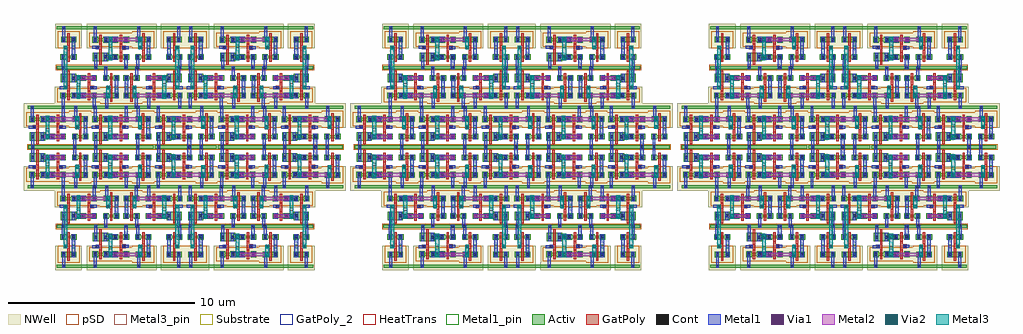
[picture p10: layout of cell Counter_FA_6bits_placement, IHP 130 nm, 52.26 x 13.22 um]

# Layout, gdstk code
from math import pi, radians
import gdstk
lib = gdstk.Library(unit=1e-6, precision=5e-09)
def R(c, l, rs):  # rectangles x0, y0, x1, y1
    for r in rs: c.add(gdstk.rectangle(r[:2], r[2:], *l))
Activ = (1, 0)
GatPoly = (5, 0)
GatPoly_2 = (5, 2)
Cont = (6, 0)
Metal1 = (8, 0)
Metal1_pin = (8, 2)
Metal2 = (10, 0)
pSD = (14, 0)
Via1 = (19, 0)
Via2 = (29, 0)
Metal3 = (30, 0)
Metal3_pin = (30, 2)
NWell = (31, 0)
Substrate = (40, 0)
HeatTrans = (51, 0)

pmos_9 = lib.new_cell('pmos$9')
R(pmos_9, Activ, [(0,0,0.3,0.3), (0.57,0,0.87,0.3), (0,0.075,0.87,0.225)])
R(pmos_9, GatPoly, [(0.37,-0.105,0.5,0.405), (0.37,-0.105,0.5,0.405)])
R(pmos_9, Cont, [(0.07,0.07,0.23,0.23), (0.64,0.07,0.8,0.23)])
R(pmos_9, Metal1, [(0.07,0.02,0.23,0.28), (0.07,0.02,0.23,0.28), (0.64,0.02,0.8,0.28), (0.64,0.02,0.8,0.28)])
R(pmos_9, pSD, [(-0.18,-0.225,1.05,0.525)])
R(pmos_9, NWell, [(-0.31,-0.31,1.18,0.61)])
R(pmos_9, Substrate, [(0.57,0,0.87,0.3)])
R(pmos_9, HeatTrans, [(0.37,-0.105,0.5,0.405)])
pmos_9.add(gdstk.Label('pmos', (0.435,0.15), layer=63, texttype=0))
pmos_9.add(gdstk.Label('pmos', (0.435,0.15), layer=51, texttype=0))

nmos_10 = lib.new_cell('nmos$10')
R(nmos_10, Activ, [(0,0,0.3,0.3), (0,0,0.81,0.45), (0.51,0,0.81,0.3)])
R(nmos_10, GatPoly, [(0.34,-0.18,0.47,0.63)])
R(nmos_10, GatPoly_2, [(0.34,-0.18,0.47,0.63)])
R(nmos_10, Cont, [(0.07,0.145,0.23,0.305), (0.58,0.145,0.74,0.305)])
R(nmos_10, Metal1, [(0.07,0,0.23,0.45), (0.58,0,0.74,0.45)])
R(nmos_10, Metal1_pin, [(0.07,0,0.23,0.45), (0.58,0,0.74,0.45)])
R(nmos_10, HeatTrans, [(0.34,-0.18,0.47,0.63)])
nmos_10.add(gdstk.Label('nmos', (0.405,0.225), layer=63, texttype=0))
nmos_10.add(gdstk.Label('nmos', (0.405,0.225), layer=51, texttype=0))

nmos_3_4 = lib.new_cell('nmos$3$4')
R(nmos_3_4, Activ, [(0,0,0.3,0.3), (0.57,0,0.87,0.3), (0,0.075,0.87,0.225)])
R(nmos_3_4, GatPoly, [(0.37,-0.105,0.5,0.405)])
R(nmos_3_4, GatPoly_2, [(0.37,-0.105,0.5,0.405)])
R(nmos_3_4, Cont, [(0.07,0.07,0.23,0.23), (0.64,0.07,0.8,0.23)])
R(nmos_3_4, Metal1, [(0.07,0.02,0.23,0.28), (0.64,0.02,0.8,0.28)])
R(nmos_3_4, Metal1_pin, [(0.07,0.02,0.23,0.28), (0.64,0.02,0.8,0.28)])
R(nmos_3_4, HeatTrans, [(0.37,-0.105,0.5,0.405)])
nmos_3_4.add(gdstk.Label('nmos', (0.435,0.15), layer=63, texttype=0))
nmos_3_4.add(gdstk.Label('nmos', (0.435,0.15), layer=51, texttype=0))

via1_constraint_2 = lib.new_cell('Via1_constraint$2')
R(via1_constraint_2, Metal1, [(0,0,0.2,0.2)])
R(via1_constraint_2, Metal2, [(0,0,0.2,0.2)])
R(via1_constraint_2, Via1, [(0.005,0.005,0.195,0.195)])

via2_constraint_2 = lib.new_cell('Via2_constraint$2')
R(via2_constraint_2, Metal2, [(-0.005,-0.005,0.195,0.195)])
R(via2_constraint_2, Via2, [(0,0,0.19,0.19)])
R(via2_constraint_2, Metal3, [(-0.005,-0.005,0.195,0.195)])

nand_1 = lib.new_cell('NAND$1')
R(nand_1, Activ, [(-0.075,-0.175,2.075,-0.015), (-0.085,1.955,2.095,2.115)])
R(nand_1, GatPoly, [(1.45,0.615,1.58,1.16), (0.16,0.875,0.36,1.075), (0.36,0.875,0.49,1.145), (1.58,0.875,1.78,1.075)])
R(nand_1, Cont, [(0.09,-0.175,0.25,-0.015), (0.18,0.895,0.34,1.055), (1.595,0.895,1.755,1.055), (0.06,1.955,0.22,2.115), (1.72,1.955,1.88,2.115)])
R(nand_1, Metal1, [(0.09,-0.175,0.25,0.245), (1.69,0.315,1.89,0.615), (0.76,0.335,1.31,0.595), (0.18,0.895,0.34,1.055), (1.595,0.895,1.755,1.055), (0.625,1.25,1.325,1.55), (0.06,1.525,0.22,2.115), (1.72,1.525,1.88,2.115)])
R(nand_1, Metal1_pin, [(0.09,-0.175,0.25,-0.015), (0.18,0.895,0.34,1.055), (1.595,0.895,1.755,1.055), (0.06,1.955,0.22,2.115), (1.72,1.955,1.88,2.115)])
R(nand_1, Metal2, [(0.825,0.36,1.89,0.56)])
R(nand_1, pSD, [(-0.13,-0.24,2.115,0.06)])
R(nand_1, Metal3, [(0.855,0.325,1.055,1.57)])
R(nand_1, Metal3_pin, [(0.855,0.74,1.055,0.905)])
R(nand_1, NWell, [(-0.325,1.855,2.26,2.26)])
nand_1.add(gdstk.Reference(pmos_9, (1.95,1.245), rotation=pi, x_reflection=True))
nand_1.add(gdstk.Reference(nmos_10, (0.83,0.245), rotation=pi, x_reflection=True))
nand_1.add(gdstk.Reference(nmos_3_4, (1.95,0.315), rotation=pi, x_reflection=True))
nand_1.add(gdstk.Reference(pmos_9, (0.86,1.245), rotation=pi, x_reflection=True))
nand_1.add(gdstk.Reference(via1_constraint_2, (1.69,0.36)))
nand_1.add(gdstk.Reference(via2_constraint_2, (0.86,0.365)))
nand_1.add(gdstk.Reference(via2_constraint_2, (0.86,1.305)))
nand_1.add(gdstk.Reference(via1_constraint_2, (0.855,1.3)))
nand_1.add(gdstk.Label('VA', (1.63,1.035), layer=8, texttype=2))
nand_1.add(gdstk.Label('VSS', (0.16,-0.05), layer=8, texttype=2))
nand_1.add(gdstk.Label('VDD', (0.085,2.075), layer=8, texttype=2))
nand_1.add(gdstk.Label('VDD', (1.745,2.075), layer=8, texttype=2))
nand_1.add(gdstk.Label('VB', (0.215,1.025), layer=8, texttype=2))
nand_1.add(gdstk.Label('VB', (0.295,1.015), layer=8, texttype=25))
nand_1.add(gdstk.Label('VOUT', (0.97,0.84), layer=30, texttype=2))

nmos_1_5 = lib.new_cell('nmos$1$5')
R(nmos_1_5, Activ, [(0,-0.145,0.3,0.155), (0.57,-0.145,0.87,0.155), (0,-0.07,0.87,0.08)])
R(nmos_1_5, GatPoly, [(0.37,-0.25,0.5,0.405)])
R(nmos_1_5, Cont, [(0.07,-0.075,0.23,0.085), (0.64,-0.075,0.8,0.085)])
R(nmos_1_5, Metal1, [(0.07,-0.125,0.23,0.135), (0.64,-0.125,0.8,0.135)])
R(nmos_1_5, Metal1_pin, [(0.07,-0.125,0.23,0.135), (0.64,-0.125,0.8,0.135)])
R(nmos_1_5, HeatTrans, [(0.37,-0.25,0.5,0.405)])
nmos_1_5.add(gdstk.Label('nmos', (0.435,0.005), layer=63, texttype=0))
nmos_1_5.add(gdstk.Label('nmos', (0.435,0.005), layer=51, texttype=0))

pmos_1_5 = lib.new_cell('pmos$1$5')
R(pmos_1_5, Activ, [(0,0,0.3,0.3), (0,0,0.81,0.3), (0.51,0,0.81,0.3)])
R(pmos_1_5, GatPoly, [(0.34,-0.18,0.47,0.48), (0.34,-0.18,0.47,0.48)])
R(pmos_1_5, Cont, [(0.07,0.07,0.23,0.23), (0.58,0.07,0.74,0.23)])
R(pmos_1_5, Metal1, [(0.07,0,0.23,0.3), (0.07,0,0.23,0.3), (0.58,0,0.74,0.3), (0.58,0,0.74,0.3)])
R(pmos_1_5, pSD, [(-0.18,-0.3,0.99,0.6)])
R(pmos_1_5, NWell, [(-0.31,-0.315,1.12,0.61)])
R(pmos_1_5, Substrate, [(0.51,0,0.81,0.3)])
R(pmos_1_5, HeatTrans, [(0.34,-0.18,0.47,0.48)])
pmos_1_5.add(gdstk.Label('pmos', (0.405,0.15), layer=63, texttype=0))
pmos_1_5.add(gdstk.Label('pmos', (0.405,0.15), layer=51, texttype=0))

inv_d1_5 = lib.new_cell('INV_D1$5')
R(inv_d1_5, Activ, [(-0.655,-1.24,0.555,-1.08), (-0.64,0.89,0.575,1.05)])
R(inv_d1_5, GatPoly, [(-0.075,-0.2,0.055,0.005), (-0.275,-0.19,-0.075,0.01)])
R(inv_d1_5, Cont, [(-0.375,-1.24,-0.215,-1.08), (-0.255,-0.17,-0.095,-0.01), (-0.345,0.89,-0.185,1.05)])
R(inv_d1_5, Metal1, [(-0.375,-1.24,-0.215,-0.73), (0.165,-0.73,0.355,0.485), (-0.255,-0.17,-0.095,-0.01), (-0.345,0.485,-0.185,1.05)])
R(inv_d1_5, Metal1_pin, [(-0.375,-1.24,-0.215,-1.08), (-0.255,-0.17,-0.095,-0.01), (0.165,-0.17,0.355,0.01), (-0.345,0.89,-0.185,1.05)])
R(inv_d1_5, pSD, [(-0.705,-1.315,0.6,-1.015)])
R(inv_d1_5, NWell, [(-0.725,0.795,0.705,1.195)])
inv_d1_5.add(gdstk.Reference(nmos_1_5, (-0.445,-0.605)))
inv_d1_5.add(gdstk.Reference(pmos_1_5, (-0.415,0.185)))
inv_d1_5.add(gdstk.Label('VDD', (-0.215,1.025), layer=8, texttype=2))
inv_d1_5.add(gdstk.Label('VSS', (-0.26,-1.105), layer=8, texttype=2))
inv_d1_5.add(gdstk.Label('VIN', (-0.155,-0.05), layer=8, texttype=2))
inv_d1_5.add(gdstk.Label('VOUT', (0.315,-0.025), layer=8, texttype=2))
inv_d1_5.add(gdstk.Label('VIN', (-0.23,-0.145), layer=8, texttype=25))

and_1 = lib.new_cell('AND$1')
R(and_1, Metal1, [(0.285,1.145,0.665,1.305), (1.92,1.145,2.25,1.305)])
R(and_1, Metal2, [(1.165,1.55,3,1.75)])
R(and_1, Metal3, [(2.775,1.125,2.975,1.805)])
and_1.add(gdstk.Reference(nand_1, (0.325,0.25)))
and_1.add(gdstk.Reference(inv_d1_5, (3.05,1.315)))
and_1.add(gdstk.Reference(via2_constraint_2, (2.78,1.555)))
and_1.add(gdstk.Reference(via1_constraint_2, (2.775,1.125)))
and_1.add(gdstk.Reference(via2_constraint_2, (2.78,1.125)))
and_1.add(gdstk.Label('VB', (0.315,1.165), layer=8, texttype=25))
and_1.add(gdstk.Label('VDD', (0.48,2.22), layer=8, texttype=25))
and_1.add(gdstk.Label('VSS', (0.505,0.095), layer=8, texttype=25))
and_1.add(gdstk.Label('VA', (2.2,1.155), layer=8, texttype=25))
and_1.add(gdstk.Label('VOUT', (3.39,1.165), layer=8, texttype=25))

pmos_2_4 = lib.new_cell('pmos$2$4')
R(pmos_2_4, Activ, [(0,0,0.3,0.3), (0.57,0,0.87,0.3), (0,0.075,0.87,0.225)])
R(pmos_2_4, GatPoly, [(0.37,-0.105,0.5,0.405), (0.37,-0.105,0.5,0.405)])
R(pmos_2_4, Cont, [(0.07,0.07,0.23,0.23), (0.64,0.07,0.8,0.23)])
R(pmos_2_4, Metal1, [(0.07,0.02,0.23,0.28), (0.07,0.02,0.23,0.28), (0.64,0.02,0.8,0.28), (0.64,0.02,0.8,0.28)])
R(pmos_2_4, pSD, [(-0.18,-0.225,1.05,0.525)])
R(pmos_2_4, NWell, [(-0.31,-0.31,1.18,0.61)])
R(pmos_2_4, Substrate, [(0.57,0,0.87,0.3)])
R(pmos_2_4, HeatTrans, [(0.37,-0.105,0.5,0.405)])
pmos_2_4.add(gdstk.Label('pmos', (0.435,0.15), layer=63, texttype=0))
pmos_2_4.add(gdstk.Label('pmos', (0.435,0.15), layer=51, texttype=0))

nmos_2_1_2 = lib.new_cell('nmos$2$1$2')
R(nmos_2_1_2, Activ, [(0,0,0.3,0.3), (0,0,0.81,0.45), (0.51,0,0.81,0.3)])
R(nmos_2_1_2, GatPoly, [(0.34,-0.18,0.47,0.63)])
R(nmos_2_1_2, GatPoly_2, [(0.34,-0.18,0.47,0.63)])
R(nmos_2_1_2, Cont, [(0.07,0.145,0.23,0.305), (0.58,0.145,0.74,0.305)])
R(nmos_2_1_2, Metal1, [(0.07,0,0.23,0.45), (0.58,0,0.74,0.45)])
R(nmos_2_1_2, Metal1_pin, [(0.07,0,0.23,0.45), (0.58,0,0.74,0.45)])
R(nmos_2_1_2, HeatTrans, [(0.34,-0.18,0.47,0.63)])
nmos_2_1_2.add(gdstk.Label('nmos', (0.405,0.225), layer=63, texttype=0))
nmos_2_1_2.add(gdstk.Label('nmos', (0.405,0.225), layer=51, texttype=0))

nmos_3_1_2 = lib.new_cell('nmos$3$1$2')
R(nmos_3_1_2, Activ, [(0,0,0.3,0.3), (0.57,0,0.87,0.3), (0,0.075,0.87,0.225)])
R(nmos_3_1_2, GatPoly, [(0.37,-0.105,0.5,0.405)])
R(nmos_3_1_2, GatPoly_2, [(0.37,-0.105,0.5,0.405)])
R(nmos_3_1_2, Cont, [(0.07,0.07,0.23,0.23), (0.64,0.07,0.8,0.23)])
R(nmos_3_1_2, Metal1, [(0.07,0.02,0.23,0.28), (0.64,0.02,0.8,0.28)])
R(nmos_3_1_2, Metal1_pin, [(0.07,0.02,0.23,0.28), (0.64,0.02,0.8,0.28)])
R(nmos_3_1_2, HeatTrans, [(0.37,-0.105,0.5,0.405)])
nmos_3_1_2.add(gdstk.Label('nmos', (0.435,0.15), layer=63, texttype=0))
nmos_3_1_2.add(gdstk.Label('nmos', (0.435,0.15), layer=51, texttype=0))

via2_constraint_1_1 = lib.new_cell('Via2_constraint$1$1')
R(via2_constraint_1_1, Metal2, [(0,0,0.2,0.2)])
R(via2_constraint_1_1, Via2, [(0.005,0.005,0.195,0.195)])
R(via2_constraint_1_1, Metal3, [(0,0,0.2,0.2)])

via1_constraint_1_1 = lib.new_cell('Via1_constraint$1$1')
R(via1_constraint_1_1, Metal1, [(0,0,0.2,0.2)])
R(via1_constraint_1_1, Metal2, [(0,0,0.2,0.2)])
R(via1_constraint_1_1, Via1, [(0.005,0.005,0.195,0.195)])

nor_1 = lib.new_cell('NOR$1')
R(nor_1, Activ, [(-0.065,-0.175,2.06,-0.015), (-0.085,1.955,2.07,2.115)])
R(nor_1, GatPoly, [(1.45,0.615,1.58,1.16), (1.58,0.865,1.78,1.065), (0.16,0.875,0.36,1.075), (0.36,0.875,0.49,1.145)])
R(nor_1, Cont, [(0.09,-0.175,0.25,-0.015), (1.71,-0.175,1.87,-0.015), (1.595,0.885,1.755,1.045), (0.18,0.895,0.34,1.055), (0.06,1.95,0.22,2.11)])
R(nor_1, Metal1, [(0.09,-0.175,0.25,0.245), (1.69,-0.175,1.89,0.315), (1.69,0.315,1.89,0.615), (0.6,0.335,1.31,0.595), (1.595,0.885,1.755,1.045), (0.18,0.895,0.34,1.055), (0.625,1.25,1.325,1.55), (1.705,1.265,1.895,1.525), (0.06,1.525,0.22,2.11)])
R(nor_1, Metal1_pin, [(0.09,-0.175,0.25,-0.015), (1.71,-0.175,1.87,-0.015), (1.595,0.885,1.755,1.045), (0.18,0.895,0.34,1.055), (0.06,1.95,0.22,2.11)])
R(nor_1, Metal2, [(0.845,1.3,1.895,1.5)])
R(nor_1, pSD, [(-0.13,-0.25,2.115,0.05)])
R(nor_1, Via1, [(1.705,1.31,1.895,1.5)])
R(nor_1, Metal3, [(0.855,0.295,1.055,1.54)])
R(nor_1, Metal3_pin, [(0.855,0.96,1.055,1.125)])
R(nor_1, NWell, [(-0.325,1.855,2.26,2.26)])
nor_1.add(gdstk.Reference(pmos_2_4, (1.95,1.245), rotation=pi, x_reflection=True))
nor_1.add(gdstk.Reference(nmos_2_1_2, (0.83,0.245), rotation=pi, x_reflection=True))
nor_1.add(gdstk.Reference(nmos_3_1_2, (1.95,0.315), rotation=pi, x_reflection=True))
nor_1.add(gdstk.Reference(pmos_2_4, (0.86,1.245), rotation=pi, x_reflection=True))
nor_1.add(gdstk.Reference(via2_constraint_1_1, (0.855,1.5), x_reflection=True))
nor_1.add(gdstk.Reference(via2_constraint_1_1, (0.855,0.565), x_reflection=True))
nor_1.add(gdstk.Reference(via1_constraint_1_1, (0.855,0.565), x_reflection=True))
nor_1.add(gdstk.Label('VB', (1.625,0.965), layer=8, texttype=2))
nor_1.add(gdstk.Label('VA', (0.235,0.975), layer=8, texttype=2))
nor_1.add(gdstk.Label('VSS', (1.78,-0.05), layer=8, texttype=2))
nor_1.add(gdstk.Label('VDD', (0.085,2.07), layer=8, texttype=2))
nor_1.add(gdstk.Label('VSS', (0.16,-0.05), layer=8, texttype=2))
nor_1.add(gdstk.Label('VB', (1.705,0.955), layer=8, texttype=25))
nor_1.add(gdstk.Label('VOUT', (0.97,1.025), layer=30, texttype=2))

pmos_1_1_2 = lib.new_cell('pmos$1$1$2')
R(pmos_1_1_2, Activ, [(0,0,0.3,0.3), (0,0,0.81,0.3), (0.51,0,0.81,0.3)])
R(pmos_1_1_2, GatPoly, [(0.34,-0.18,0.47,0.48), (0.34,-0.18,0.47,0.48)])
R(pmos_1_1_2, Cont, [(0.07,0.07,0.23,0.23), (0.58,0.07,0.74,0.23)])
R(pmos_1_1_2, Metal1, [(0.07,0,0.23,0.3), (0.07,0,0.23,0.3), (0.58,0,0.74,0.3), (0.58,0,0.74,0.3)])
R(pmos_1_1_2, pSD, [(-0.18,-0.3,0.99,0.6)])
R(pmos_1_1_2, NWell, [(-0.31,-0.315,1.12,0.61)])
R(pmos_1_1_2, Substrate, [(0.51,0,0.81,0.3)])
R(pmos_1_1_2, HeatTrans, [(0.34,-0.18,0.47,0.48)])
pmos_1_1_2.add(gdstk.Label('pmos', (0.405,0.15), layer=63, texttype=0))
pmos_1_1_2.add(gdstk.Label('pmos', (0.405,0.15), layer=51, texttype=0))

inv_d1_1_2 = lib.new_cell('INV_D1$1$2')
R(inv_d1_1_2, Activ, [(-0.68,-1.24,0.54,-1.08), (-0.655,0.89,0.575,1.05)])
R(inv_d1_1_2, GatPoly, [(-0.075,-0.2,0.055,0.005), (-0.275,-0.19,-0.075,0.01)])
R(inv_d1_1_2, Cont, [(-0.375,-1.24,-0.215,-1.08), (-0.255,-0.17,-0.095,-0.01), (-0.345,0.89,-0.185,1.05)])
R(inv_d1_1_2, Metal1, [(-0.375,-1.24,-0.215,-0.73), (0.165,-0.73,0.355,0.485), (-0.255,-0.17,-0.095,-0.01), (-0.345,0.485,-0.185,1.05)])
R(inv_d1_1_2, Metal1_pin, [(-0.375,-1.24,-0.215,-1.08), (-0.255,-0.17,-0.095,-0.01), (0.165,-0.17,0.355,0.01), (-0.345,0.89,-0.185,1.05)])
R(inv_d1_1_2, pSD, [(-0.705,-1.315,0.6,-1.015)])
R(inv_d1_1_2, NWell, [(-0.725,0.795,0.705,1.195)])
R(inv_d1_1_2, Substrate, [(0.095,0.185,0.395,0.485)])
inv_d1_1_2.add(gdstk.Reference(pmos_1_1_2, (-0.415,0.185)))
inv_d1_1_2.add(gdstk.Reference(nmos_1_5, (-0.445,-0.605)))
inv_d1_1_2.add(gdstk.Label('nmos', (-0.015,-0.75), layer=63, texttype=0))
inv_d1_1_2.add(gdstk.Label('VSS', (-0.26,-1.105), layer=8, texttype=2))
inv_d1_1_2.add(gdstk.Label('VDD', (-0.215,1.025), layer=8, texttype=2))
inv_d1_1_2.add(gdstk.Label('VIN', (-0.155,-0.05), layer=8, texttype=2))
inv_d1_1_2.add(gdstk.Label('VOUT', (0.315,-0.025), layer=8, texttype=2))
inv_d1_1_2.add(gdstk.Label('VIN', (-0.23,-0.145), layer=8, texttype=25))

or_1 = lib.new_cell('OR$1')
R(or_1, Metal1, [(1.595,0.885,1.925,1.045), (-0.03,0.9,0.35,1.06)])
R(or_1, Metal2, [(0.84,1.3,2.675,1.5)])
R(or_1, Metal3, [(2.45,0.875,2.65,1.555)])
or_1.add(gdstk.Reference(nor_1, (0,0)))
or_1.add(gdstk.Reference(inv_d1_1_2, (2.725,1.065)))
or_1.add(gdstk.Reference(via2_constraint_1_1, (2.45,1.3)))
or_1.add(gdstk.Reference(via1_constraint_1_1, (2.45,0.875)))
or_1.add(gdstk.Reference(via2_constraint_1_1, (2.45,0.875)))
or_1.add(gdstk.Label('VB', (0,0.92), layer=8, texttype=25))
or_1.add(gdstk.Label('VDD', (0.165,1.975), layer=8, texttype=25))
or_1.add(gdstk.Label('VSS', (0.19,-0.15), layer=8, texttype=25))
or_1.add(gdstk.Label('VA', (1.875,0.895), layer=8, texttype=25))
or_1.add(gdstk.Label('VOUT', (3.03,0.99), layer=8, texttype=25))

xor_placement_1 = lib.new_cell('XOR_placement$1')
xor_placement_1.add(gdstk.Reference(and_1, (-0.16,3.03), x_reflection=True))
xor_placement_1.add(gdstk.Reference(or_1, (1.88,2.97)))
xor_placement_1.add(gdstk.Reference(inv_d1_5, (0.605,4.035)))
xor_placement_1.add(gdstk.Reference(inv_d1_5, (6.24,4.035), rotation=pi, x_reflection=True))
xor_placement_1.add(gdstk.Reference(and_1, (7,3.03), rotation=pi))

xor_routed_1 = lib.new_cell('XOR_routed$1')
R(xor_routed_1, Activ, [(0.125,4.405,6.99,4.565)])
R(xor_routed_1, Metal3, [(0.49,1.185,0.685,3.525), (6.475,1.185,6.675,3.525)])
xor_routed_1.add(gdstk.Reference(xor_placement_1, (0.16,-0.52)))
xor_routed_1.add(gdstk.Reference(via1_constraint_2, (0.49,3.325)))
xor_routed_1.add(gdstk.Reference(via2_constraint_2, (0.495,3.33)))
xor_routed_1.add(gdstk.Reference(via1_constraint_2, (0.485,1.185)))
xor_routed_1.add(gdstk.Reference(via2_constraint_2, (0.49,1.19)))
xor_routed_1.add(gdstk.Reference(via1_constraint_2, (6.475,3.325)))
xor_routed_1.add(gdstk.Reference(via2_constraint_2, (6.48,3.33)))
xor_routed_1.add(gdstk.Reference(via1_constraint_2, (6.475,1.185)))
xor_routed_1.add(gdstk.Reference(via2_constraint_2, (6.48,1.19)))

xor_1 = lib.new_cell('XOR$1')
xor_1.add(gdstk.Reference(xor_routed_1, (0,0)))

fa_1 = lib.new_cell('FA$1')
fa_1.add(gdstk.Reference(and_1, (-0.9,0)))
fa_1.add(gdstk.Reference(and_1, (2.47,0)))
fa_1.add(gdstk.Reference(and_1, (9.24,0)))
fa_1.add(gdstk.Reference(or_1, (6.18,0.25)))
fa_1.add(gdstk.Reference(or_1, (12.93,0.25)))
fa_1.add(gdstk.Reference(xor_1, (0.76,2.06)))
fa_1.add(gdstk.Reference(xor_1, (7.565,2.06)))

fa__track__1 = lib.new_cell('FA$(Track)$1')
fa__track__1.add(gdstk.Reference(fa_1, (0.9,0)))

counter_fa_6bits_placeme = lib.new_cell('Counter_FA_6bits_placement')
r = gdstk.Reference(fa__track__1, (0,0)); r.repetition = gdstk.Repetition(3, 1, v1=(17.5,0), v2=(0,0)); counter_fa_6bits_placeme.add(r)
r = gdstk.Reference(fa__track__1, (0,0.32), x_reflection=True); r.repetition = gdstk.Repetition(3, 1, v1=(17.5,0), v2=(0,0)); counter_fa_6bits_placeme.add(r)

lib.write_gds('Counter_FA_6bits_placement.gds')
